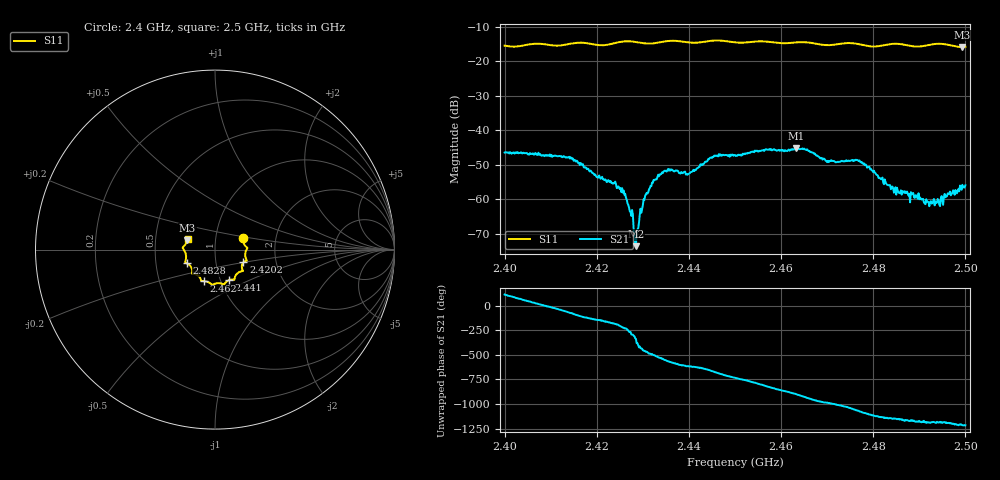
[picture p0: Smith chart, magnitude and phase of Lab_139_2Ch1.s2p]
# Hz S RI R 50
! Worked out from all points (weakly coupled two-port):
!   601 points, 2.4 GHz to 2.5 GHz, reference 50 ohm
!   highest |S21| = -45.18 dB at 2.4633 GHz (marker M1); lowest = -73.6 dB at 2.4285 GHz (marker M2)
!   lowest |S11| = -15.8 dB at 2.4993 GHz (marker M3), VSWR 1.39, Z = 36.5 + j3.85 ohm
!   |S11| at or under -10 dB: start of sweep to end of sweep
!   S12 and S22 are empty: the file has one direction only
!   S11 on the Smith chart (normalised r, x): 2.4 GHz: 1.36, +0.17; 2.4202 GHz: 1.36, -0.20; 2.441 GHz: 1.10, -0.39; 2.462 GHz: 0.84, -0.30; 2.4828 GHz: 0.72, -0.11; 2.5 GHz: 0.73, +0.09
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2.4e9  0.1581 0.0623  -0.00189 0.00439  0 0  0 0
2.4125e9  0.1686 -0.0345  0.00274 -0.00303  0 0  0 0
2.416667e9  0.1772 -0.0608  -0.00112 -0.00304  0 0  0 0
2.420167e9  0.1582 -0.0712  -0.00171 -0.00119  0 0  0 0
2.425667e9  0.1554 -0.1168  -0.000912 0.000856  0 0  0 0
2.427333e9  0.1551 -0.1195  -3.63e-05 0.000659  0 0  0 0
2.4285e9  0.1495 -0.1203  0.000195 7.67e-05  0 0  0 0
2.4305e9  0.1314 -0.1273  -0.000232 -0.00111  0 0  0 0
2.433333e9  0.1114 -0.151  -0.00221 -0.000572  0 0  0 0
2.441e9  0.0786 -0.1697  -0.000414 0.00265  0 0  0 0
2.445333e9  0.0514 -0.1941  0.00261 0.0032  0 0  0 0
2.45e9  0.0281 -0.1874  0.00427 -0.00101  0 0  0 0
2.462e9  -0.0608 -0.1756  -0.00498 -0.00146  0 0  0 0
2.463333e9  -0.0705 -0.1757  -0.00551 0.000101  0 0  0 0
2.466667e9  -0.0787 -0.1681  -0.00282 0.00386  0 0  0 0
2.470167e9  -0.0968 -0.1428  -5.6e-05 0.00362  0 0  0 0
2.476667e9  -0.1271 -0.1267  0.00359 0.000781  0 0  0 0
2.482833e9  -0.1574 -0.0767  0.000781 -0.00149  0 0  0 0
2.483333e9  -0.1607 -0.0752  0.00063 -0.00147  0 0  0 0
2.492333e9  -0.1752 0.000828  -0.000339 -0.000832  0 0  0 0
2.499333e9  -0.1538 0.0514  -0.00117 -0.00113  0 0  0 0
2.5e9  -0.1521 0.061  -0.00116 -0.0011  0 0  0 0
